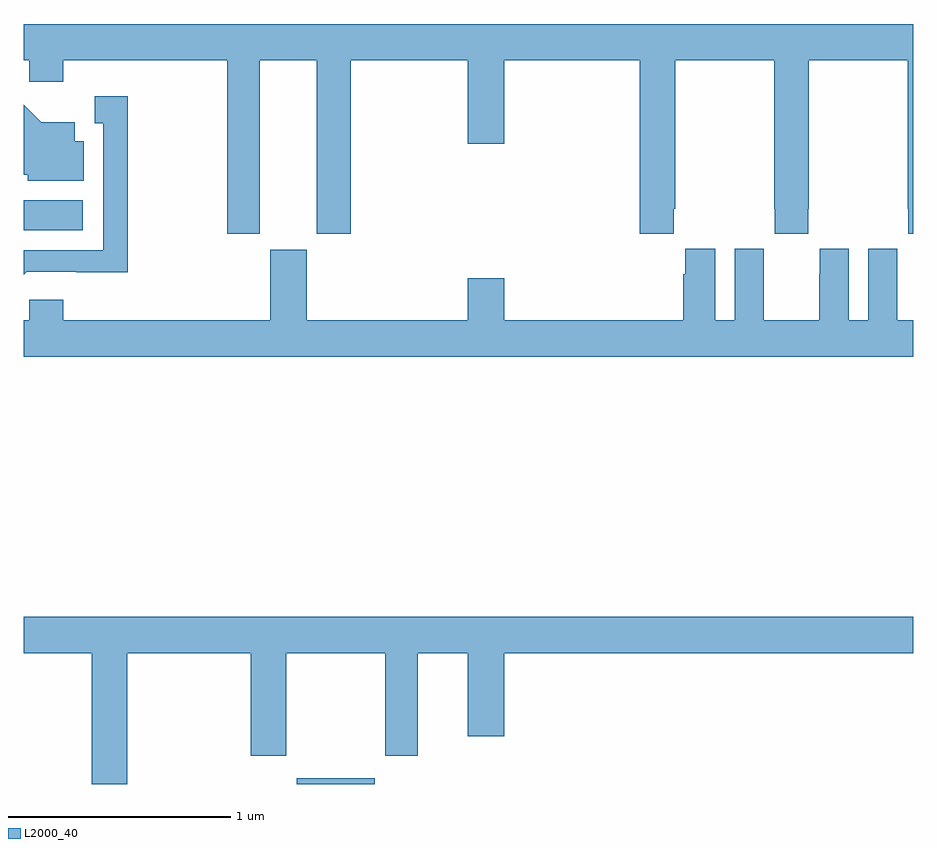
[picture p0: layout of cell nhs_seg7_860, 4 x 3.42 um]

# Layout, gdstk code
import gdstk
lib = gdstk.Library(unit=1e-6, precision=1e-09)
def R(c, l, rs):  # rectangles x0, y0, x1, y1
    for r in rs: c.add(gdstk.rectangle(r[:2], r[2:], *l))
def P(c, l, *ps):  # polygons
    for p in ps: c.add(gdstk.Polygon(p, *l))
L2000_40 = (2000, 40)

nhs_seg7_860 = lib.new_cell('nhs_seg7_860')
R(nhs_seg7_860, L2000_40, [(176.228,1028,176.578,1028.026), (175,1030.49,175.267,1030.624)])
P(nhs_seg7_860, L2000_40, [(176.062,1031.252),(176.318,1031.252),(176.318,1030.473),(176.471,1030.473),(176.471,1031.252),(176.996,1031.252),(176.996,1030.878),(177.16,1030.878),(177.16,1031.252),(177.77,1031.252),(177.77,1030.473),(177.923,1030.473),(177.923,1030.585),(177.93,1030.585),(177.93,1031.252),(178.375,1031.252),(178.375,1030.585),(178.377,1030.585),(178.377,1030.473),(178.527,1030.473),(178.527,1030.585),(178.53,1030.585),(178.53,1031.252),(178.975,1031.252),(178.975,1030.585),(178.977,1030.585),(178.977,1030.473),(179,1030.473),(179,1031.416),(175,1031.416),(175,1031.252),(175.026,1031.252),(175.026,1031.157),(175.178,1031.157),(175.178,1031.252),(175.915,1031.252),(175.915,1030.473),(176.062,1030.473)],
  [(175.014,1030.302),(175.236,1030.302),(175.236,1030.301),(175.469,1030.301),(175.469,1031.092),(175.319,1031.092),(175.319,1030.971),(175.358,1030.971),(175.358,1030.398),(175,1030.398),(175,1030.288)],
  [(175.27,1030.888),(175.231,1030.888),(175.231,1030.975),(175.079,1030.975),(175,1031.053),(175,1030.739),(175.02,1030.739),(175.02,1030.712),(175.27,1030.712)],
  [(179,1030.084),(178.927,1030.084),(178.927,1030.292),(178.926,1030.292),(178.926,1030.405),(178.796,1030.405),(178.796,1030.084),(178.708,1030.084),(178.708,1030.405),(178.578,1030.405),(178.578,1030.292),(178.577,1030.292),(178.577,1030.084),(178.327,1030.084),(178.327,1030.292),(178.326,1030.292),(178.326,1030.405),(178.196,1030.405),(178.196,1030.084),(178.108,1030.084),(178.108,1030.405),(177.974,1030.405),(177.974,1030.292),(177.965,1030.292),(177.965,1030.084),(177.16,1030.084),(177.16,1030.273),(176.996,1030.273),(176.996,1030.084),(176.272,1030.084),(176.272,1030.401),(176.108,1030.401),(176.108,1030.084),(175.178,1030.084),(175.178,1030.177),(175.026,1030.177),(175.026,1030.084),(175,1030.084),(175,1029.92),(179,1029.92)],
  [(175.466,1028.588),(176.021,1028.588),(176.021,1028.127),(176.181,1028.127),(176.181,1028.588),(176.626,1028.588),(176.626,1028.127),(176.773,1028.127),(176.773,1028.588),(176.996,1028.588),(176.996,1028.214),(177.16,1028.214),(177.16,1028.588),(179,1028.588),(179,1028.752),(175,1028.752),(175,1028.588),(175.306,1028.588),(175.306,1028),(175.466,1028)])

lib.write_gds('nhs_seg7_860.gds')
